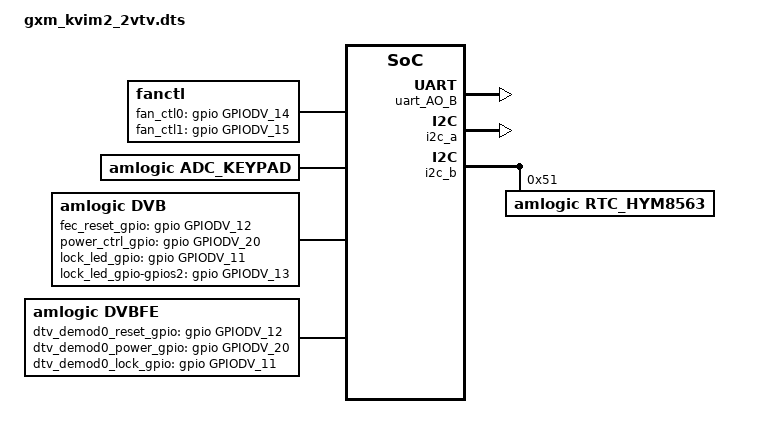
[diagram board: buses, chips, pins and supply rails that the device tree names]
#include "gxm_q200_2g.dts"

/{
	le-dt-id = "gxm_kvim2_2vtv";
	compatible = "kvim";
	amlogic-dt-id = "kvim";

	memory@00000000 {
		/delete-property/ linux,usable-memory;
		linux,usable-memory-2g = <0x0 0x00100000 0x0 0x7ff00000>;
		linux,usable-memory-3g = <0x0 0x00100000 0x0 0xbff00000>;
	};

	sysled {
		led_gpio = <&gpio_ao GPIOAO_9 GPIO_ACTIVE_HIGH>;
	};

	fan {
		compatible = "fanctl";
		fan_ctl0 = <&gpio GPIODV_14 GPIO_ACTIVE_HIGH>;
		fan_ctl1 = <&gpio GPIODV_15 GPIO_ACTIVE_HIGH>;
		trig_temp_level0 = <60>;
		trig_temp_level1 = <70>;
		trig_temp_level2 = <74>;
	};

	meson-fb {
		/delete-property/ logo_addr;
		logo_addr_2g = "0x7d851000";
		logo_addr_3g = "0xbd851000"; /*ion base + fb0 memory size for uboot logo osd1*/
	};

	uart_AO_B: serial@c81004e0 {
		status = "okay";
	};
	
	dwc2_a {
		controller-type = <2>; /** 0: normal, 1: otg+dwc3 host only, 2: otg+dwc3 device only*/
	};
	adc_keypad{
		compatible = "amlogic, adc_keypad";
		status = "okay";
		key_name = "home";
		key_num = <1>;
		key_code = <102>;
		key_chan = <0>;
		key_val = <10>;
		key_tolerance = <40>;
	};
	aml_m8_snd {
		/delete-property/ mute_gpio-gpios;
		/delete-property/ pinctrl-names;
		/delete-property/ pinctrl-0;
	};
	amlogic-jtag {
		pinctrl-names = "jtag_apee_pins";
		pinctrl-0 = <&jtag_apee_pins>;
		/delete-property/ pinctrl-1;
	};
	dvb {
		compatible = "amlogic,dvb";
		dev_name = "dvb";
		ts0 = "serial";
		ts0_control = <0x0>;
		ts0_invert = <0x0>;
		fec_reset_gpio-gpios = <&gpio GPIODV_12 GPIO_ACTIVE_HIGH>;
		power_ctrl_gpio-gpios = <&gpio  GPIODV_20  GPIO_ACTIVE_HIGH>;
		lock_led_gpio-gpios = <&gpio GPIODV_11 GPIO_ACTIVE_HIGH>;
		ts1 = "serial";
		lock_led_gpio-gpios2 = <&gpio GPIODV_13 GPIO_ACTIVE_HIGH>;
		pinctrl-names = "s_ts0", "s_ts1";
		pinctrl-0 = <&dvb_s_ts0_pins>;
		pinctrl-1 = <&dvb_s_ts1_pins>;
		resets = <&clock GCLK_IDX_DEMUX &clock GCLK_IDX_ASYNC_FIFO &clock GCLK_IDX_AHB_ARB0 &clock GCLK_IDX_HIU_PARSER_TOP>;
		reset-names = "demux", "asyncfifo", "ahbarb0", "uparsertop";
	};

	dvbfe {
		compatible = "amlogic,dvbfe";
		//dev_name = "dvbfe";
		status = "okay";
		dtv_demod0 = "Avl6211";
		dtv_demod0_i2c_adap_id = <2>;
		dtv_demod0_i2c_addr = <0x60>;
 		dtv_demod0_reset_value = <0>;
		dtv_demod0_reset_gpio-gpios = <&gpio  GPIODV_12  GPIO_ACTIVE_HIGH>;
		dtv_demod0_power_gpio-gpios = <&gpio  GPIODV_20  GPIO_ACTIVE_HIGH>;
		dtv_demod0_lock_gpio-gpios = <&gpio  GPIODV_11  GPIO_ACTIVE_HIGH>;
		dtv_demod1_i2c_adap_id = <1>;
		fe0_dtv_demod = <0>;
		fe0_ts = <1>;
		fe0_dev = <0>;
	};
};

&i2c_a {
	status = "okay";
};

&i2c_b {
	status = "okay";
	rtc_hym8563{
		compatible = "amlogic, rtc_hym8563";
		dev_name = "rtc_hym8563";
		status = "okay";
		reg = <0x51>;
	};
};

&pinmux {
	dvb_s_ts0_pins:dvb_s_ts0_pins {
		amlogic,setmask = <2 0x17>;
		amlogic,clrmask = <3 0x584 2 0x7000000 1 0x100>;
		amlogic,pins = "GPIODV_0", "GPIODV_8", "GPIODV_9", "GPIODV_10";
	};
	dvb_s_ts1_pins:dvb_s_ts1_pins {
		amlogic,setmask = <2 0x17 6 0x1E0000>;
		amlogic,clrmask = <3 0x584 2 0x7000000 1 0x100 6 0x7E00000>;
		amlogic,pins = "GPIODV_0", "GPIODV_8", "GPIODV_9", "GPIODV_10", "GPIOH_6", "GPIOH_7", "GPIOH_8", "GPIOH_9";
	};
};
